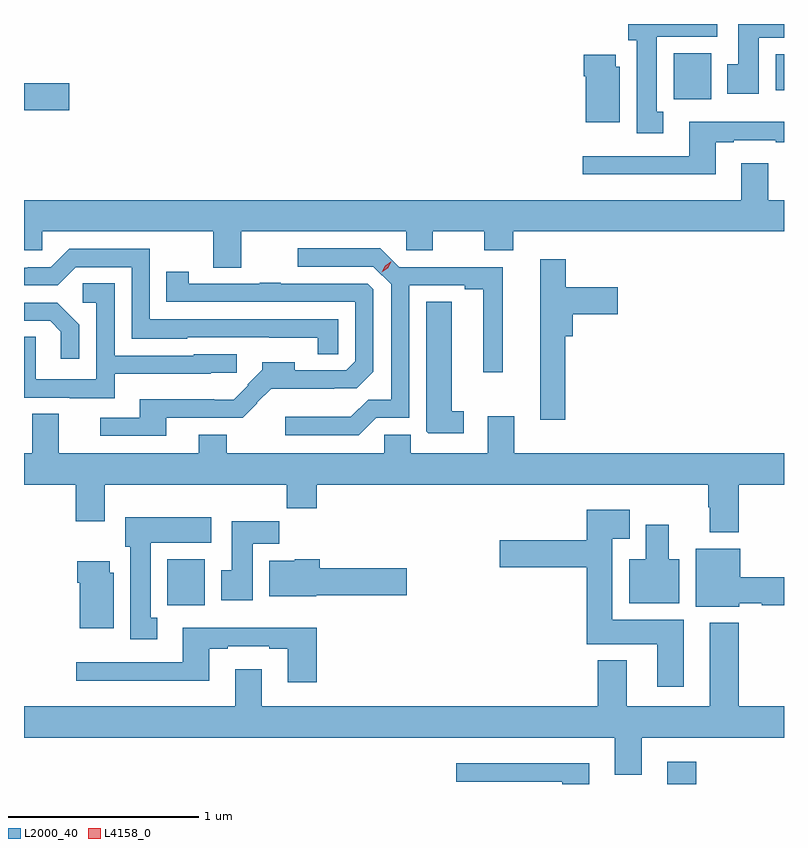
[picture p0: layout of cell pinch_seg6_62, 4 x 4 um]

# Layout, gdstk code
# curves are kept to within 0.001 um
import gdstk
lib = gdstk.Library(unit=1e-6, precision=1e-09)
def R(c, l, rs):  # rectangles x0, y0, x1, y1
    for r in rs: c.add(gdstk.rectangle(r[:2], r[2:], *l))
def P(c, l, *ps):  # polygons
    for p in ps: c.add(gdstk.Polygon(p, *l))
L2000_40 = (2000, 40)
L4158_0 = (4158, 0)

pinch_seg6_62 = lib.new_cell('pinch_seg6_62')
R(pinch_seg6_62, L2000_40, [(950.099,953.752,950.252,953.869), (947.468,954.692,947.665,954.934), (946.713,957.298,946.951,957.44), (950.132,957.356,950.329,957.598), (950.669,957.404,950.713,957.592)])
P(pinch_seg6_62, L2000_40, [(950.077,957.29),(950.044,957.29),(950.044,957.686),(950.362,957.686),(950.362,957.752),(949.892,957.752),(949.892,957.666),(949.937,957.666),(949.937,957.177),(950.077,957.177)],
  [(950.581,957.68),(950.713,957.68),(950.713,957.752),(950.471,957.752),(950.471,957.54),(950.414,957.54),(950.414,957.384),(950.581,957.384)],
  [(949.849,957.528),(949.828,957.528),(949.828,957.589),(949.658,957.589),(949.658,957.476),(949.67,957.476),(949.67,957.236),(949.849,957.236)],
  [(950.353,957.129),(950.449,957.129),(950.449,957.141),(950.669,957.141),(950.669,957.129),(950.713,957.129),(950.713,957.238),(950.213,957.238),(950.213,957.057),(949.653,957.057),(949.653,956.96),(950.353,956.96)],
  [(947.857,956.66),(948.726,956.66),(948.726,956.562),(948.865,956.562),(948.865,956.66),(949.136,956.66),(949.136,956.561),(949.289,956.561),(949.289,956.66),(950.713,956.66),(950.713,956.824),(950.629,956.824),(950.629,957.019),(950.489,957.019),(950.489,956.824),(946.713,956.824),(946.713,956.562),(946.809,956.562),(946.809,956.66),(947.71,956.66),(947.71,956.47),(947.857,956.47)],
  [(948.567,955.68),(948.741,955.68),(948.741,956.376),(949.034,956.376),(949.034,956.356),(949.13,956.356),(949.13,955.92),(949.234,955.92),(949.234,956.472),(948.688,956.472),(948.589,956.571),(948.153,956.571),(948.153,956.475),(948.552,956.475),(948.645,956.382),(948.645,955.775),(948.524,955.775),(948.433,955.684),(948.087,955.684),(948.087,955.587),(948.474,955.587)],
  [(948.366,956.199),(947.376,956.199),(947.376,956.568),(946.95,956.568),(946.854,956.472),(946.734,956.472),(946.734,956.469),(946.713,956.469),(946.713,956.376),(946.89,956.376),(946.986,956.472),(947.28,956.472),(947.28,956.096),(947.571,956.096),(947.571,956.103),(948.258,956.102),(948.258,956.014),(948.366,956.014)],
  [(949.562,956.108),(949.601,956.108),(949.601,956.225),(949.837,956.225),(949.837,956.367),(949.565,956.367),(949.565,956.515),(949.43,956.515),(949.43,955.668),(949.562,955.668)],
  [(947.461,955.68),(947.865,955.68),(947.941,955.757),(947.939,955.759),(948.013,955.833),(948.347,955.832),(948.347,955.834),(948.463,955.834),(948.552,955.923),(948.552,956.355),(948.522,956.385),(948.065,956.385),(948.065,956.39),(947.953,956.39),(947.953,956.385),(947.58,956.385),(947.58,956.449),(947.461,956.449),(947.461,956.289),(948.456,956.289),(948.456,955.977),(948.408,955.929),(948.139,955.929),(948.139,955.972),(947.968,955.972),(947.968,955.933),(947.889,955.854),(947.892,955.851),(947.816,955.775),(947.714,955.775),(947.714,955.777),(947.321,955.777),(947.321,955.68),(947.115,955.68),(947.115,955.584),(947.461,955.584)],
  [(947.191,955.91),(947.697,955.91),(947.697,955.917),(947.832,955.917),(947.832,956.013),(947.607,956.013),(947.607,956.007),(947.19,956.007),(947.19,956.387),(947.022,956.387),(947.022,956.286),(947.094,956.286),(947.094,955.881),(946.776,955.881),(946.776,956.105),(946.713,956.105),(946.713,955.785),(946.955,955.785),(946.955,955.781),(947.191,955.781)],
  [(949.027,955.715),(948.964,955.715),(948.964,956.291),(948.83,956.291),(948.83,955.609),(948.84,955.599),(949.027,955.599)],
  [(947.004,956.17),(946.888,956.286),(946.713,956.286),(946.713,956.19),(946.85,956.19),(946.907,956.133),(946.907,955.989),(947.004,955.989)],
  [(950.474,955.328),(950.713,955.328),(950.713,955.492),(949.294,955.492),(949.294,955.687),(949.154,955.687),(949.154,955.492),(948.748,955.492),(948.748,955.59),(948.609,955.59),(948.609,955.492),(947.781,955.492),(947.781,955.591),(947.633,955.591),(947.633,955.492),(946.897,955.492),(946.897,955.7),(946.757,955.7),(946.757,955.492),(946.713,955.492),(946.713,955.328),(946.985,955.328),(946.985,955.134),(947.137,955.134),(947.137,955.328),(948.097,955.328),(948.097,955.204),(948.254,955.204),(948.254,955.328),(950.314,955.328),(950.314,955.208),(950.321,955.208),(950.321,955.076),(950.474,955.076)],
  [(950.185,954.616),(949.81,954.616),(949.81,955.043),(949.9,955.043),(949.9,955.195),(949.676,955.195),(949.676,955.035),(949.218,955.035),(949.218,954.893),(949.676,954.893),(949.676,954.488),(950.045,954.488),(950.045,954.264),(950.185,954.264)],
  [(947.413,954.626),(947.38,954.626),(947.38,955.022),(947.698,955.022),(947.698,955.156),(947.246,955.156),(947.246,955.002),(947.273,955.002),(947.273,954.513),(947.413,954.513)],
  [(947.917,955.016),(948.056,955.016),(948.056,955.135),(947.807,955.135),(947.807,954.876),(947.75,954.876),(947.75,954.72),(947.917,954.72)],
  [(950.161,954.934),(950.107,954.934),(950.107,955.117),(949.985,955.117),(949.985,954.934),(949.898,954.934),(949.898,954.704),(950.161,954.704)],
  [(950.478,954.704),(950.595,954.704),(950.595,954.692),(950.713,954.692),(950.713,954.839),(950.482,954.839),(950.482,954.991),(950.249,954.991),(950.249,954.686),(950.478,954.686)],
  [(948.252,954.746),(948.727,954.746),(948.727,954.888),(948.269,954.888),(948.269,954.934),(948.138,954.934),(948.138,954.928),(948.005,954.928),(948.005,954.74),(948.252,954.74)],
  [(947.185,954.864),(947.164,954.864),(947.164,954.925),(946.994,954.925),(946.994,954.812),(947.006,954.812),(947.006,954.572),(947.185,954.572)],
  [(949.963,953.996),(950.713,953.996),(950.713,954.16),(950.474,954.16),(950.474,954.601),(950.321,954.601),(950.321,954.16),(949.885,954.16),(949.885,954.403),(949.733,954.403),(949.733,954.16),(947.965,954.16),(947.965,954.355),(947.825,954.355),(947.825,954.16),(946.713,954.16),(946.713,953.996),(949.823,953.996),(949.823,953.802),(949.963,953.802)],
  [(948.254,954.574),(947.549,954.574),(947.549,954.393),(946.989,954.393),(946.989,954.296),(947.689,954.296),(947.689,954.465),(947.785,954.465),(947.785,954.477),(948.005,954.477),(948.005,954.465),(948.101,954.465),(948.101,954.288),(948.254,954.288)],
  [(949.687,953.86),(948.987,953.86),(948.987,953.763),(949.547,953.763),(949.547,953.752),(949.687,953.752)])
P(pinch_seg6_62, L4158_0, [(948.597,956.446),(948.597,956.446),(948.613,956.48),(948.644,956.501),(948.645,956.501),(948.645,956.5),(948.628,956.467),(948.597,956.446)])

lib.write_gds('pinch_seg6_62.gds')
